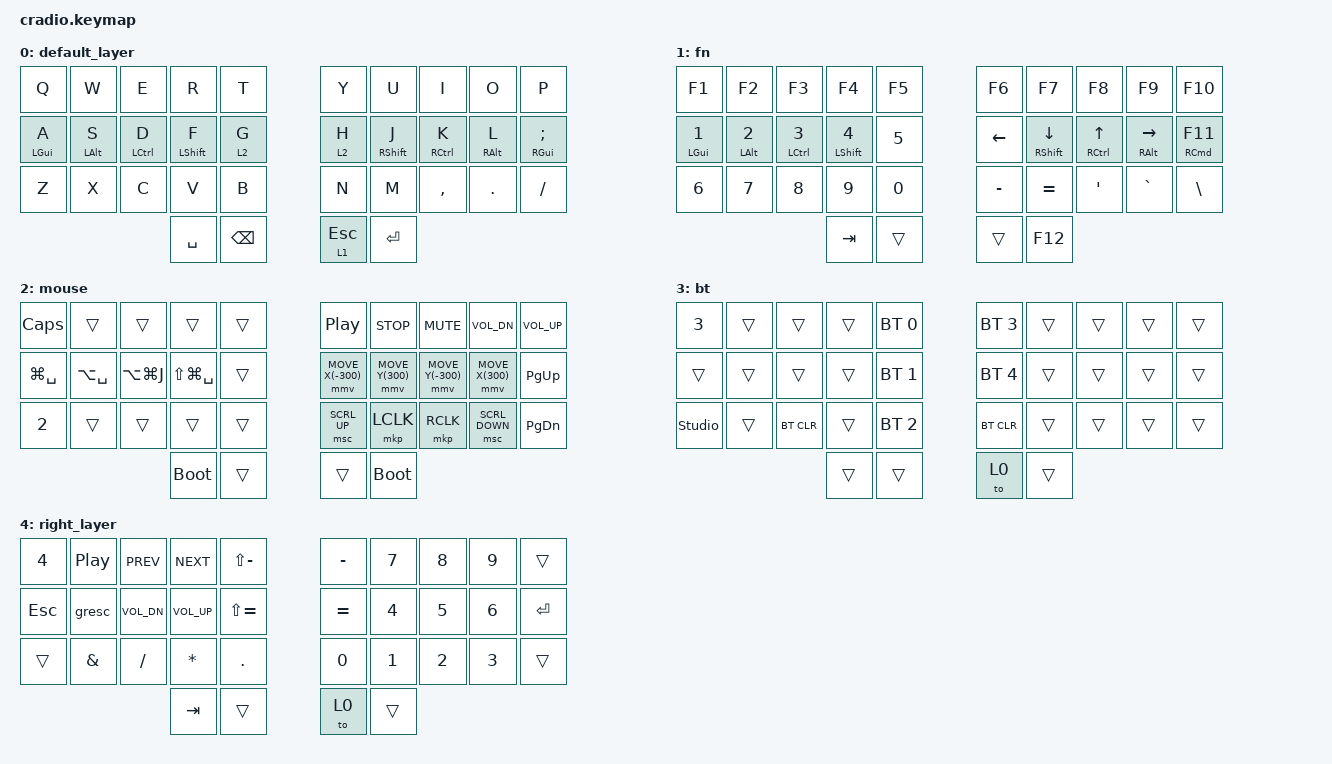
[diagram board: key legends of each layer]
/*
 * Copyright (c) 2020 The ZMK Contributors
 *
 * SPDX-License-Identifier: MIT
 */

#include <dt-bindings/zmk/mouse.h>
#include <behaviors.dtsi>
#include <dt-bindings/zmk/bt.h>
#include <dt-bindings/zmk/keys.h>
#include <dt-bindings/zmk/pointing.h>

/ {
    behaviors {
        hm: homerow_mods {
            compatible = "zmk,behavior-hold-tap";
            #binding-cells = <2>;
            tapping-term-ms = <250>;
            flavor = "tap-preferred";
            bindings = <&kp>, <&kp>;

            quick-tap-ms = <250>;
            hold-trigger-on-release;
        };

        hm_shift: hm_shift {
            compatible = "zmk,behavior-hold-tap";
            #binding-cells = <2>;
            tapping-term-ms = <150>;
            flavor = "tap-preferred";
            bindings = <&kp>, <&kp>;

            quick-tap-ms = <150>;
            label = "HM_SHIFT";
        };
    };

    combos {
        compatible = "zmk,combos";

        combo_braces {
            bindings = <&kp LEFT_BRACKET>;
            key-positions = <26 27>;
            layers = <0>;
        };

        combo_brackets {
            bindings = <&kp RIGHT_BRACKET>;
            key-positions = <26 28>;
            layers = <0>;
        };
    };

    keymap {
        compatible = "zmk,keymap";

        default_layer {
            bindings = <
&kp Q       &kp W       &kp E        &kp R              &kp T            &kp Y         &kp U              &kp I        &kp O       &kp P
&hm LGUI A  &hm LALT S  &hm LCTRL D  &hm_shift LSHFT F  &lt 2 G          &lt 2 H       &hm_shift RSHFT J  &hm RCTRL K  &hm RALT L  &mt RGUI SEMICOLON
&kp Z       &kp X       &kp C        &kp V              &kp B            &kp N         &kp M              &kp COMMA    &kp PERIOD  &kp SLASH
                                     &kp SPACE          &kp BACKSPACE    &lt 1 ESCAPE  &kp ENTER
            >;
        };

        fn {
            bindings = <
&kp F1             &kp F2             &kp F3              &kp F4                    &kp F5    &kp F6          &kp F7                &kp F8              &kp F9                &kp F10
&hm LGUI NUMBER_1  &hm LALT NUMBER_2  &hm LCTRL NUMBER_3  &hm_shift LSHFT NUMBER_4  &kp N5    &kp LEFT_ARROW  &hm RSHFT DOWN_ARROW  &hm RCTRL UP_ARROW  &hm RALT RIGHT_ARROW  &hm RCMD F11
&kp N6             &kp N7             &kp N8              &kp N9                    &kp N0    &kp MINUS       &kp EQUAL             &kp SINGLE_QUOTE    &kp GRAVE             &kp BACKSLASH
                                                          &kp TAB                   &trans    &trans          &kp F12
            >;
        };

        mouse {
            bindings = <
&kp CAPS       &trans         &trans         &trans             &trans    &kp C_PLAY_PAUSE   &kp C_STOP        &kp C_MUTE         &kp C_VOL_DN      &kp C_VOL_UP
&kp LG(SPACE)  &kp LA(SPACE)  &kp LA(LG(J))  &kp LS(LG(SPACE))  &trans    &mmv MOVE_X(-300)  &mmv MOVE_Y(300)  &mmv MOVE_Y(-300)  &mmv MOVE_X(300)  &kp PAGE_UP
&kp NUMBER_2   &trans         &trans         &trans             &trans    &msc SCRL_UP       &mkp LCLK         &mkp RCLK          &msc SCRL_DOWN    &kp PAGE_DOWN
                                             &bootloader        &trans    &trans             &bootloader
            >;
        };

        bt {
            bindings = <
&kp NUMBER_3    &trans  &trans      &trans  &bt BT_SEL 0    &bt BT_SEL 3  &trans  &trans  &trans  &trans
&trans          &trans  &trans      &trans  &bt BT_SEL 1    &bt BT_SEL 4  &trans  &trans  &trans  &trans
&studio_unlock  &trans  &bt BT_CLR  &trans  &bt BT_SEL 2    &bt BT_CLR    &trans  &trans  &trans  &trans
                                    &trans  &trans          &to 0         &trans
            >;
        };

        right_layer {
            bindings = <
&kp NUMBER_4  &kp C_PP  &kp C_PREV    &kp C_NEXT    &kp LS(MINUS)    &kp MINUS  &kp N7  &kp N8  &kp N9  &trans
&kp ESCAPE    &gresc    &kp C_VOL_DN  &kp C_VOL_UP  &kp LS(EQUAL)    &kp EQUAL  &kp N4  &kp N5  &kp N6  &kp ENTER
&trans        &kp AMPS  &kp SLASH     &kp STAR      &kp DOT          &kp N0     &kp N1  &kp N2  &kp N3  &trans
                                      &kp TAB       &trans           &to 0      &trans
            >;
        };
    };
};
